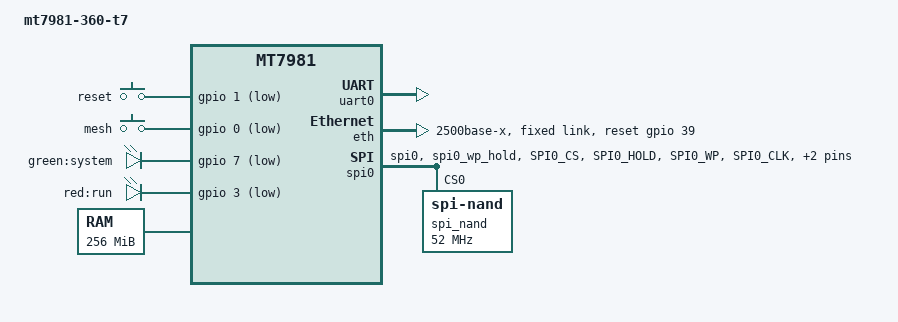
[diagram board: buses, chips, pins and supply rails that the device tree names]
// SPDX-License-Identifier: GPL-2.0

/dts-v1/;
#include "mt7981.dtsi"
#include <dt-bindings/gpio/gpio.h>

/ {
	#address-cells = <1>;
	#size-cells = <1>;
	model = "mt7981-360-t7";
	compatible = "mediatek,mt7981", "mediatek,mt7981-rfb";

	chosen {
		stdout-path = &uart0;
		tick-timer = &timer0;
	};

	config {
		bootcmd = "mtkboardboot";
		blink_led = "red:run";
		system_led = "green:system";
	};
	mtd-layout {
		layout@0 {
			label = "default";
			// mtd layout for xiaomi stock ubi or openwrt-stock/immortalwrt-stock firmware
			cmdline = "console=ttyS0,115200n1 loglevel=8 earlycon=uart8250,mmio32,0x11002000";
			mtdids = "nmbm0=nmbm0";
			mtdparts = "nmbm0:1024k(bl2),512k(u-boot-env),2048k(factory),2048k(fip),36M(ubi),36M(firmware-1),36M(plugin),1M(config),512k(factory),4M(log)";
			//boot_part = "ubi_kernel"; // ubi boot part, default is "ubi"
			//factory_part = "ubi_kernel"; // factory firmware write part, default is "ubi"
			//sysupgrade_kernel_ubipart = "ubi_kernel"; // sysupgrade kernel write part (ubi volume: kernel), default is "ubi"
			//sysupgrade_rootfs_ubipart = "ubi"; // sysupgrade rootfs write part (ubi volume: rootfs, rootfs_data)
		};

		layout@1 {
			label = "immortalwrt-108m";
			// mtd layout for immortalwrt/openwrt 112M ubi firmware
			mtdids = "nmbm0=nmbm0";
			mtdparts = "nmbm0:1024k(bl2),512k(u-boot-env),2048k(factory),2048k(fip),108M(ubi),1M(stock-config),512k(stock-factory),4M(stock-log)";
		};

		layout@2 {
			label = "immortalwrt-235m";
			// mtd layout for immortalwrt/openwrt 240M ubi firmware
			mtdids = "nmbm0=nmbm0";
			mtdparts = "nmbm0:1024k(bl2),512k(u-boot-env),2048k(factory),2048k(fip),235M(ubi),1M(stock-config),512k(stock-factory),4M(stock-log)";
		};
	};

	gpio-keys {
		compatible = "gpio-keys";

		reset-button {
			label = "reset";
			linux,code = <KEY_RESTART>;
			gpios = <&gpio 1 GPIO_ACTIVE_LOW>;
		};

		mesh-button {
			label = "mesh";
			linux,code = <BTN_9>;
			gpios = <&gpio 0 GPIO_ACTIVE_LOW>;
		};
	};

	leds {
		compatible = "gpio-leds";

		led@0 {
			label = "green:system";
			gpios = <&gpio 7 GPIO_ACTIVE_LOW>;
		};

		led@1 {
			label = "red:run";
			gpios = <&gpio 3 GPIO_ACTIVE_LOW>;
        };
	};

	memory@40000000 {
		device_type = "memory";
		reg = <0x40000000 0x10000000>;
	};

	bl2_verify {
		bl2_compatible = "spim-nand";
	};
};

&uart0 {
	status = "okay";
};

&eth {
	status = "okay";
	mediatek,gmac-id = <0>;
	phy-mode = "2500base-x";
	mediatek,switch = "mt7531";
	reset-gpios = <&gpio 39 GPIO_ACTIVE_HIGH>;

	fixed-link {
		speed = <2500>;
		full-duplex;
	};
};

&pinctrl {
	spi_flash_pins: spi0-pins-func-1 {
		mux {
			function = "flash";
			groups = "spi0", "spi0_wp_hold";
		};

		conf-pu {
			pins = "SPI0_CS", "SPI0_HOLD", "SPI0_WP";
			drive-strength = <MTK_DRIVE_8mA>;
			bias-pull-up = <MTK_PUPD_SET_R1R0_11>;
		};

		conf-pd {
			pins = "SPI0_CLK", "SPI0_MOSI", "SPI0_MISO";
			drive-strength = <MTK_DRIVE_8mA>;
			bias-pull-down = <MTK_PUPD_SET_R1R0_11>;
		};
	};
};

&spi0 {
	#address-cells = <1>;
	#size-cells = <0>;
	pinctrl-names = "default";
	pinctrl-0 = <&spi_flash_pins>;
	status = "okay";
	must_tx;
	enhance_timing;
	dma_ext;
	ipm_design;
	support_quad;
	tick_dly = <2>;
	sample_sel = <0>;

	spi_nand@0 {
		compatible = "spi-nand";
		reg = <0>;
		spi-max-frequency = <52000000>;
	};
};

&watchdog {
	status = "disabled";
};
